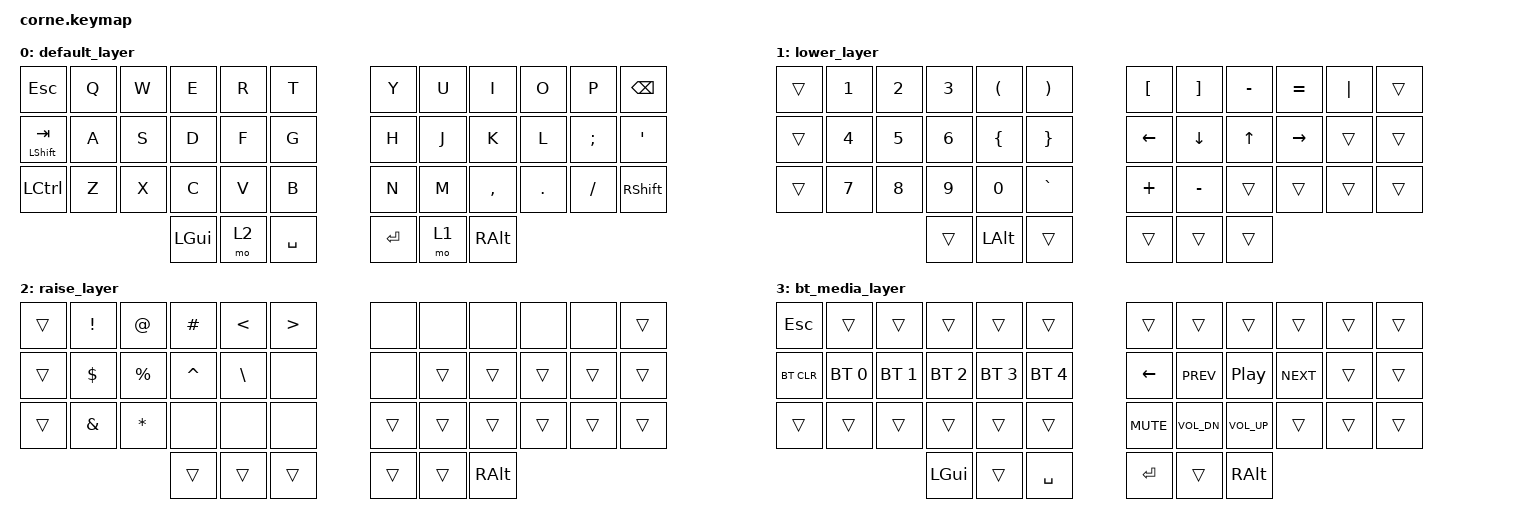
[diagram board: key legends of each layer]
/*
 * Copyright (c) 2020 The ZMK Contributors
 *
 * SPDX-License-Identifier: MIT
 */

#include <behaviors.dtsi>
#include <dt-bindings/zmk/bt.h>
#include <dt-bindings/zmk/keys.h>

#define BASE 0
#define NAV 1
#define SYM 2
#define BT 3

// TAP_DANCE settings

#define TAP_SPEED 200

// MACROS to make the the code easier to read
// include name or reference in keymap
// Format: 
//      name        reference  key1 key2 

#define TD_TAB      &td0    // TAB LSHIFT
#define TD_CAPLOCK  &td1    // LSHIFT CAPSLOCK
#define TD_SPC      &td2    // SPACE ENTER
#define TD_SLSH     &td3    // SLASH QMARK
#define TD_QUOTE    &td4    // QUOTE DOUBLE_QUOTES
#define TD_EQL      &td5    // EQUAL PLUS
#define TD_BSLS     &td6    // BACKSLASH PIPE
#define TD_MINUS    &td7    // MINUS UNDERSCORE
#define TD_SCLN     &td8    // SEMICOLON COLON
#define TD_COMM     &td9    // COMMA LESS_THAN
#define TD_DOT      &td10   // PERIOD GREATER_THAN
#define TD_BACKF    &td11   // GRAVE TILDE
#define TD_ALT      &td12   // LALT GUI
#define TD_ARR      &td13   // Q AT (@)
#define TD_ATCAT    &td14   // AT CARET
#define TD_TAW      &td15   // TAB LWIN
#define TD_SCLOCK   &td16   // (S)LSHIFT CAPSLOCK (Sticky shift)

// include &name in keymap to use
// FORMAT
//   natural --> (on shift)
//   number --> symbols | number code --> symbol code 
// one_lpar    1 --> (  | N1 --> LPAR
// two_par     2 --> )  | N2 --> RPAR
// three_rbrc  3 --> }  | N3 --> RBRC
// four_pl     4 --> ]  | N4 --> PLUS
// five_lbrc   5 --> {  | N5 --> RSFT
// six_rbkt    6 --> ]  | N6 --> RBKT
// seven_lbkt  7 --> [  | N7 --> LBKT
// eight_exlm  8 --> !  | N8 --> EXCL
// nine_equal  9 --> =  | N9 --> EQUAL
// zero_s      0 --> *  | N0 --> STAR
/*
// Sticky key config if desired
&sk {
    //release-after-ms = <2000>;
    quick-release;
};

*/

/ {
    behaviors {
        td0: tap_dance_0 {
            compatible = "zmk,behavior-tap-dance";
            label = "TAP_DANCE_0";
            #binding-cells = <0>;
            tapping-term-ms = <TAP_SPEED>;
            bindings = <&kp TAB>, <&kp LSHIFT>;
        };

        td1: tap_dance_1 {
            compatible = "zmk,behavior-tap-dance";
            label = "TAP_DANCE_1";
            #binding-cells = <0>;
            tapping-term-ms = <TAP_SPEED>;
            bindings = <&kp LSHIFT>, <&kp CAPSLOCK>;
        };

        td2: tap_dance_2 {
            compatible = "zmk,behavior-tap-dance";
            label = "TAP_DANCE_2";
            #binding-cells = <0>;
            tapping-term-ms = <TAP_SPEED>;
            bindings = <&kp SPACE>, <&kp ENTER>;
        };

        td3: tap_dance_3 {
            compatible = "zmk,behavior-tap-dance";
            label = "TAP_DANCE_3";
            #binding-cells = <0>;
            tapping-term-ms = <TAP_SPEED>;
            bindings = <&kp SLASH>, <&kp QMARK>;
        };

        td4: tap_dance_4 {
            compatible = "zmk,behavior-tap-dance";
            label = "TAP_DANCE_4";
            #binding-cells = <0>;
            tapping-term-ms = <TAP_SPEED>;
            bindings = <&kp SINGLE_QUOTE>, <&kp DOUBLE_QUOTES>;
        };

        td5: tap_dance_5 {
            compatible = "zmk,behavior-tap-dance";
            label = "TAP_DANCE_5";
            #binding-cells = <0>;
            tapping-term-ms = <TAP_SPEED>;
            bindings = <&kp EQUAL>, <&kp PLUS>;
        };

        td6: tap_dance_6 {
            compatible = "zmk,behavior-tap-dance";
            label = "TAP_DANCE_6";
            #binding-cells = <0>;
            tapping-term-ms = <TAP_SPEED>;
            bindings = <&kp BACKSLASH>, <&kp PIPE>;
        };

        td7: tap_dance_7 {
            compatible = "zmk,behavior-tap-dance";
            label = "TAP_DANCE_7";
            #binding-cells = <0>;
            tapping-term-ms = <TAP_SPEED>;
            bindings = <&kp MINUS>, <&kp UNDERSCORE>;
        };

        td8: tap_dance_8 {
            compatible = "zmk,behavior-tap-dance";
            label = "TAP_DANCE_8";
            #binding-cells = <0>;
            tapping-term-ms = <TAP_SPEED>;
            bindings = <&kp SEMICOLON>, <&kp COLON>;
        };

        td9: tap_dance_9 {
            compatible = "zmk,behavior-tap-dance";
            label = "TAP_DANCE_9";
            #binding-cells = <0>;
            tapping-term-ms = <TAP_SPEED>;
            bindings = <&kp COMMA>, <&kp LESS_THAN>;
        };

        td10: tap_dance_10 {
            compatible = "zmk,behavior-tap-dance";
            label = "TAP_DANCE_10";
            #binding-cells = <0>;
            tapping-term-ms = <TAP_SPEED>;
            bindings = <&kp PERIOD>, <&kp GREATER_THAN>;
        };

        td11: tap_dance_11 {
            compatible = "zmk,behavior-tap-dance";
            label = "TAP_DANCE_11";
            #binding-cells = <0>;
            tapping-term-ms = <TAP_SPEED>;
            bindings = <&kp GRAVE>, <&kp TILDE>;
        };

        td12: tap_dance_12 {
            compatible = "zmk,behavior-tap-dance";
            label = "TAP_DANCE_12";
            #binding-cells = <0>;
            tapping-term-ms = <TAP_SPEED>;
            bindings = <&kp LALT>, <&kp GUI>;
        };

        td13: tap_dance_13 {
            compatible = "zmk,behavior-tap-dance";
            label = "TAP_DANCE_13";
            #binding-cells = <0>;
            tapping-term-ms = <TAP_SPEED>;
            bindings = <&kp Q>, <&kp AT>;
        };

        td14: tap_dance_14 {
            compatible = "zmk,behavior-tap-dance";
            label = "TAP_DANCE_14";
            #binding-cells = <0>;
            tapping-term-ms = <TAP_SPEED>;
            bindings = <&kp AT>, <&kp CARET>;
        };

        td15: tap_dance_15 {
            compatible = "zmk,behavior-tap-dance";
            label = "TAP_DANCE_15";
            #binding-cells = <0>;
            tapping-term-ms = <TAP_SPEED>;
            bindings = <&kp TAB>, <&kp LWIN>;
        };

        td16: tap_dance_16 {
            compatible = "zmk,behavior-tap-dance";
            label = "TAP_DANCE_16";
            #binding-cells = <0>;
            tapping-term-ms = <TAP_SPEED>;
            bindings = <&sk LSHIFT>, <&kp CAPSLOCK>;
        };

        // create the shifts of dvorak 

        seven_lbkt: seven_lbkt {
            compatible = "zmk,behavior-mod-morph";
            label = "SEVEN_LBKT";
            #binding-cells = <0>;
            bindings = <&kp N7>, <&kp LBKT>;

            mods = <(MOD_LSFT|MOD_RSFT)>;
        };

        five_lbrc: five_lbrc {
            compatible = "zmk,behavior-mod-morph";
            label = "FIVE_LBRC";
            #binding-cells = <0>;
            bindings = <&kp N5>, <&kp LBRC>;

            mods = <(MOD_LSFT|MOD_RSFT)>;
        };

        three_rbrc: three_rbrc {
            compatible = "zmk,behavior-mod-morph";
            label = "THREE_RBRC";
            #binding-cells = <0>;
            bindings = <&kp N3>, <&kp RBRC>;

            mods = <(MOD_LSFT|MOD_RSFT)>;
        };

        one_lpar: one_lpar {
            compatible = "zmk,behavior-mod-morph";
            label = "ONE_LPAR";
            #binding-cells = <0>;
            bindings = <&kp N1>, <&kp LPAR>;

            mods = <(MOD_LSFT|MOD_RSFT)>;
        };

        nine_equal: nine_equal {
            compatible = "zmk,behavior-mod-morph";
            label = "nine_equal";
            #binding-cells = <0>;
            bindings = <&kp N9>, <&kp EQUAL>;

            mods = <(MOD_LSFT|MOD_RSFT)>;
        };

        zero_s: zero_star {
            compatible = "zmk,behavior-mod-morph";
            label = "ZERO_STAR";
            #binding-cells = <0>;
            bindings = <&kp N0>, <&kp STAR>;

            mods = <(MOD_LSFT|MOD_RSFT)>;
        };

        two_par: two_paren {
            compatible = "zmk,behavior-mod-morph";
            label = "TWO_PAR";
            #binding-cells = <0>;
            bindings = <&kp N2>, <&kp RPAR>;

            mods = <(MOD_LSFT|MOD_RSFT)>;
        };

        four_pl: four_plus {
            compatible = "zmk,behavior-mod-morph";
            label = "FOUR_PLUS";
            #binding-cells = <0>;
            bindings = <&kp N4>, <&kp PLUS>;

            mods = <(MOD_LSFT|MOD_RSFT)>;
        };

        six_rbkt: six_rbkt {
            compatible = "zmk,behavior-mod-morph";
            label = "six_rbkt";
            #binding-cells = <0>;
            bindings = <&kp N6>, <&kp RBKT>;

            mods = <(MOD_LSFT|MOD_RSFT)>;
        };

        eight_exlm: eight_exlm {
            compatible = "zmk,behavior-mod-morph";
            label = "EIGHT_EXLM";
            #binding-cells = <0>;
            bindings = <&kp N8>, <&kp EXCL>;

            mods = <(MOD_LSFT|MOD_RSFT)>;
        };
    };

    // LAYERS

    conditional_layers {
        compatible = "zmk,conditional-layers";

        tri_layer {
            if-layers = <1 2>;
            then-layer = <3>;
        };
    };

    keymap {
        compatible = "zmk,keymap";

        default_layer {
            bindings = <
&kp ESCAPE      &kp Q  &kp W  &kp E     &kp R  &kp T        &kp Y      &kp U  &kp I      &kp O    &kp P          &kp BACKSPACE
&mt LSHIFT TAB  &kp A  &kp S  &kp D     &kp F  &kp G        &kp H      &kp J  &kp K      &kp L    &kp SEMICOLON  &kp SQT
&kp LCTRL       &kp Z  &kp X  &kp C     &kp V  &kp B        &kp N      &kp M  &kp COMMA  &kp DOT  &kp SLASH      &kp RSHIFT
                              &kp LGUI  &mo 2  &kp SPACE    &kp ENTER  &mo 1  &kp RALT
            >;
        };

        lower_layer {
            bindings = <
&trans  &kp NUMBER_1  &kp NUMBER_2  &kp NUMBER_3  &kp LEFT_PARENTHESIS  &kp RIGHT_PARENTHESIS    &kp LEFT_BRACKET  &kp RIGHT_BRACKET  &kp MINUS  &kp EQUAL  &kp PIPE  &trans
&trans  &kp NUMBER_4  &kp N5        &kp NUMBER_6  &kp LEFT_BRACE        &kp RIGHT_BRACE          &kp LEFT          &kp DOWN           &kp UP     &kp RIGHT  &trans    &trans
&trans  &kp N7        &kp NUMBER_8  &kp NUMBER_9  &kp NUMBER_0          &kp GRAVE                &kp PLUS          &kp MINUS          &trans     &trans     &trans    &trans
                                    &trans        &kp LALT              &trans                   &trans            &trans             &trans
            >;
        };

        raise_layer {
            bindings = <
&trans  &kp EXCLAMATION  &kp AT_SIGN   &kp HASH   &kp LESS_THAN  &kp GREATER_THAN    &none   &none   &none     &none   &none   &trans
&trans  &kp DOLLAR       &kp PERCENT   &kp CARET  &kp BACKSLASH  &none               &none   &trans  &trans    &trans  &trans  &trans
&trans  &kp AMPERSAND    &kp ASTERISK  &none      &none          &none               &trans  &trans  &trans    &trans  &trans  &trans
                                       &trans     &trans         &trans              &trans  &trans  &kp RALT
            >;
        };

        // bt_media_layer: BT functions and media controls

        bt_media_layer {
            bindings = <
&kp ESC     &trans        &trans        &trans        &trans        &trans          &trans      &trans        &trans        &trans      &trans  &trans
&bt BT_CLR  &bt BT_SEL 0  &bt BT_SEL 1  &bt BT_SEL 2  &bt BT_SEL 3  &bt BT_SEL 4    &kp LEFT    &kp C_PREV    &kp C_PP      &kp C_NEXT  &trans  &trans
&trans      &trans        &trans        &trans        &trans        &trans          &kp C_MUTE  &kp C_VOL_DN  &kp C_VOL_UP  &trans      &trans  &trans
                                        &kp LGUI      &trans        &kp SPACE       &kp RET     &trans        &kp RALT
            >;
        };
    };
};
